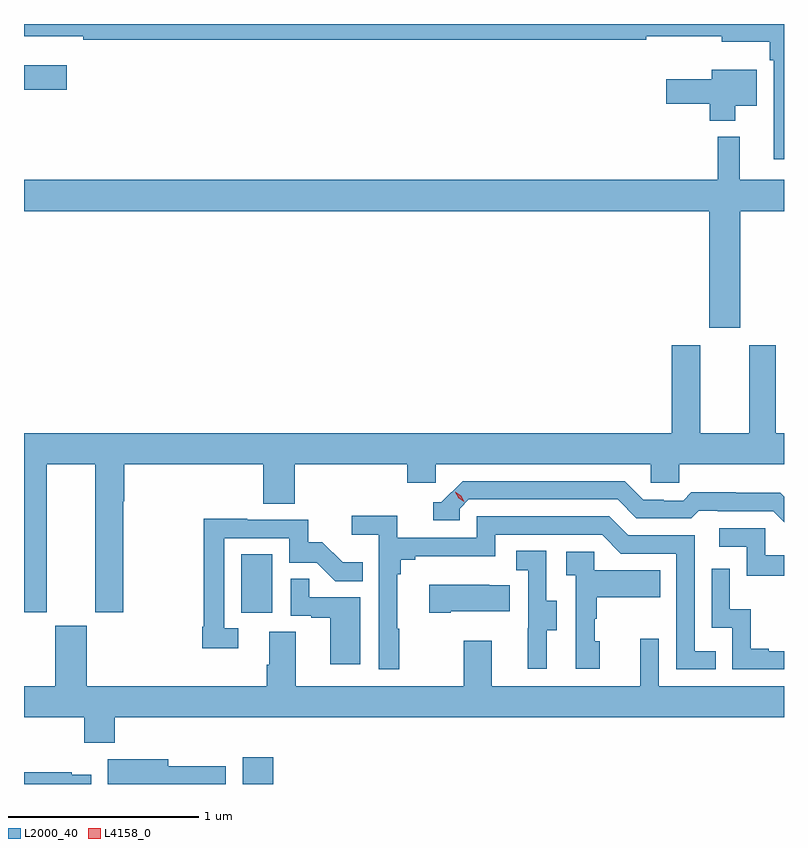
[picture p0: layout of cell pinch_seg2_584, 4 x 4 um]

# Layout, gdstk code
import gdstk
lib = gdstk.Library(unit=1e-6, precision=1e-09)
def R(c, l, rs):  # rectangles x0, y0, x1, y1
    for r in rs: c.add(gdstk.rectangle(r[:2], r[2:], *l))
def P(c, l, *ps):  # polygons
    for p in ps: c.add(gdstk.Polygon(p, *l))
L2000_40 = (2000, 40)
L4158_0 = (4158, 0)

pinch_seg2_584 = lib.new_cell('pinch_seg2_584')
R(pinch_seg2_584, L2000_40, [(1073.087,621.977,1073.248,622.117), (1073.078,622.878,1073.242,623.185), (1071.935,625.63,1072.159,625.759)])
P(pinch_seg2_584, L2000_40, [(1075.935,625.977),(1071.935,625.977),(1071.935,625.913),(1072.246,625.913),(1072.246,625.894),(1075.211,625.894),(1075.211,625.912),(1075.607,625.912),(1075.607,625.883),(1075.861,625.883),(1075.861,625.787),(1075.881,625.787),(1075.881,625.266),(1075.935,625.266)],
  [(1075.678,625.547),(1075.792,625.547),(1075.792,625.735),(1075.556,625.735),(1075.556,625.687),(1075.314,625.687),(1075.314,625.558),(1075.544,625.558),(1075.544,625.469),(1075.678,625.469)],
  [(1075.705,624.992),(1075.935,624.992),(1075.935,625.156),(1075.703,625.156),(1075.703,625.384),(1075.585,625.384),(1075.585,625.156),(1071.935,625.156),(1071.935,624.992),(1075.541,624.992),(1075.541,624.378),(1075.705,624.378)],
  [(1072.054,623.66),(1072.31,623.66),(1072.31,622.881),(1072.458,622.881),(1072.458,623.464),(1072.463,623.464),(1072.463,623.66),(1073.195,623.66),(1073.195,623.452),(1073.36,623.452),(1073.36,623.66),(1073.951,623.66),(1073.951,623.562),(1074.102,623.562),(1074.102,623.66),(1075.233,623.66),(1075.233,623.562),(1075.383,623.562),(1075.383,623.66),(1075.935,623.66),(1075.935,623.824),(1075.891,623.824),(1075.891,624.286),(1075.751,624.286),(1075.751,623.824),(1075.495,623.824),(1075.495,624.286),(1075.343,624.286),(1075.343,623.824),(1071.935,623.824),(1071.935,622.881),(1072.054,622.881)],
  [(1075.935,623.49),(1075.916,623.509),(1075.68,623.509),(1075.68,623.512),(1075.447,623.512),(1075.405,623.469),(1075.302,623.469),(1075.302,623.472),(1075.195,623.472),(1075.096,623.571),(1074.243,623.571),(1074.132,623.46),(1074.089,623.46),(1074.089,623.364),(1074.228,623.364),(1074.228,623.427),(1074.276,623.475),(1075.059,623.475),(1075.158,623.376),(1075.447,623.376),(1075.486,623.415),(1075.585,623.415),(1075.585,623.412),(1075.878,623.412),(1075.935,623.355)],
  [(1073.911,622.793),(1073.899,622.793),(1073.899,623.081),(1073.918,623.081),(1073.918,623.158),(1073.995,623.158),(1073.995,623.177),(1074.414,623.177),(1074.414,623.289),(1074.978,623.289),(1075.077,623.19),(1075.368,623.19),(1075.368,622.581),(1075.577,622.581),(1075.577,622.677),(1075.464,622.677),(1075.464,623.286),(1075.114,623.286),(1075.015,623.385),(1074.318,623.385),(1074.318,623.274),(1073.9,623.274),(1073.9,623.39),(1073.661,623.39),(1073.661,623.288),(1073.802,623.288),(1073.802,622.581),(1073.911,622.581)],
  [(1073.062,622.797),(1072.989,622.797),(1072.989,623.271),(1073.331,623.271),(1073.331,623.142),(1073.475,623.142),(1073.573,623.044),(1073.717,623.044),(1073.717,623.143),(1073.613,623.143),(1073.506,623.25),(1073.43,623.25),(1073.43,623.367),(1073.111,623.367),(1073.111,623.372),(1072.881,623.372),(1072.881,622.804),(1072.873,622.804),(1072.873,622.692),(1073.062,622.692)],
  [(1075.935,623.181),(1075.836,623.181),(1075.836,623.322),(1075.593,623.322),(1075.593,623.226),(1075.74,623.226),(1075.74,623.073),(1075.935,623.073)],
  [(1074.685,622.786),(1074.739,622.786),(1074.739,622.941),(1074.684,622.941),(1074.684,623.204),(1074.525,623.204),(1074.525,623.101),(1074.588,623.101),(1074.588,622.797),(1074.587,622.797),(1074.587,622.584),(1074.685,622.584)],
  [(1074.964,622.728),(1074.939,622.728),(1074.939,622.847),(1074.949,622.847),(1074.949,622.961),(1075.283,622.961),(1075.283,623.101),(1074.936,623.101),(1074.936,623.199),(1074.789,623.199),(1074.789,623.075),(1074.84,623.075),(1074.84,622.584),(1074.964,622.584)],
  [(1075.935,622.677),(1075.855,622.677),(1075.855,622.69),(1075.76,622.69),(1075.76,622.898),(1075.65,622.898),(1075.65,623.11),(1075.554,623.11),(1075.554,622.8),(1075.662,622.8),(1075.662,622.581),(1075.935,622.581)],
  [(1073.704,622.959),(1073.435,622.959),(1073.435,623.057),(1073.34,623.057),(1073.34,622.863),(1073.447,622.863),(1073.447,622.851),(1073.546,622.851),(1073.546,622.608),(1073.704,622.608)],
  [(1074.181,622.886),(1074.491,622.886),(1074.491,623.023),(1074.383,623.023),(1074.383,623.026),(1074.069,623.026),(1074.069,622.879),(1074.181,622.879)],
  [(1072.412,622.328),(1075.935,622.328),(1075.935,622.492),(1075.275,622.492),(1075.275,622.741),(1075.178,622.741),(1075.178,622.492),(1074.397,622.492),(1074.397,622.732),(1074.25,622.732),(1074.25,622.492),(1073.365,622.492),(1073.365,622.778),(1073.225,622.778),(1073.225,622.604),(1073.213,622.604),(1073.213,622.492),(1072.264,622.492),(1072.264,622.809),(1072.1,622.809),(1072.1,622.492),(1071.935,622.492),(1071.935,622.328),(1072.252,622.328),(1072.252,622.193),(1072.412,622.193)],
  [(1072.998,622.07),(1072.693,622.07),(1072.693,622.108),(1072.375,622.108),(1072.375,621.977),(1072.998,621.977)],
  [(1072.29,622.027),(1072.187,622.027),(1072.187,622.039),(1071.935,622.039),(1071.935,621.977),(1072.29,621.977)])
P(pinch_seg2_584, L4158_0, [(1074.253,623.462),(1074.222,623.481),(1074.205,623.513),(1074.205,623.514),(1074.206,623.514),(1074.236,623.494),(1074.253,623.462),(1074.253,623.462)])

lib.write_gds('pinch_seg2_584.gds')
